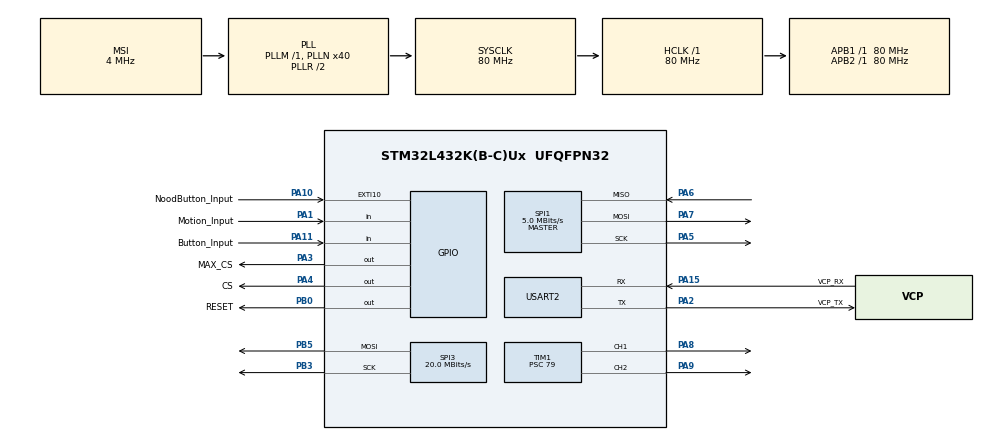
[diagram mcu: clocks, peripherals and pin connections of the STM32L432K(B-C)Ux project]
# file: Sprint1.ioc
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Mcu.Family=STM32L4
Mcu.Name=STM32L432K(B-C)Ux
Mcu.Package=UFQFPN32
NVIC.EXTI15_10_IRQn=true\:0\:0\:false\:false\:true\:true\:true\:true
NVIC.PriorityGroup=NVIC_PRIORITYGROUP_4
PA0.GPIO_Label=MCO [High speed clock in]
PA0.Mode=HSE-External-Clock-Source-for-LittleOrca
PA0.Signal=RCC_CK_IN
PA1.GPIO_Label=Motion_Input
PA1.Signal=GPIO_Input
PA10.GPIO_Label=NoodButton_Input
PA10.GPIO_PuPd=GPIO_PULLUP
PA10.Signal=GPXTI10
PA11.GPIO_Label=Button_Input
PA11.GPIO_PuPd=GPIO_PULLUP
PA11.Signal=GPIO_Input
PA13\ (JTMS-SWDIO).GPIO_Label=SWDIO
PA13\ (JTMS-SWDIO).Mode=Serial_Wire
PA13\ (JTMS-SWDIO).Signal=SYS_JTMS-SWDIO
PA14\ (JTCK-SWCLK).GPIO_Label=SWCLK
PA14\ (JTCK-SWCLK).Mode=Serial_Wire
PA14\ (JTCK-SWCLK).Signal=SYS_JTCK-SWCLK
PA15\ (JTDI).GPIO_Label=VCP_RX
PA15\ (JTDI).Mode=Asynchronous
PA15\ (JTDI).Signal=USART2_RX
PA2.GPIO_Label=VCP_TX
PA2.Mode=Asynchronous
PA2.Signal=USART2_TX
PA3.GPIO_Label=MAX_CS
PA3.Signal=GPIO_Output
PA4.GPIO_Label=CS
PA4.Signal=GPIO_Output
PA5.Mode=Full_Duplex_Master
PA5.Signal=SPI1_SCK
PA6.Mode=Full_Duplex_Master
PA6.Signal=SPI1_MISO
PA7.Mode=Full_Duplex_Master
PA7.Signal=SPI1_MOSI
PA8.Signal=S_TIM1_CH1
PA9.Signal=S_TIM1_CH2
PB0.GPIO_Label=RESET
PB0.Signal=GPIO_Output
PB3\ (JTDO-TRACESWO).Mode=TX_Only_Simplex_Unidirect_Master
PB3\ (JTDO-TRACESWO).Signal=SPI3_SCK
PB5.Mode=TX_Only_Simplex_Unidirect_Master
PB5.Signal=SPI3_MOSI
PC14-OSC32_IN\ (PC14).Mode=LSE-External-Oscillator
PC14-OSC32_IN\ (PC14).Signal=RCC_OSC32_IN
PC15-OSC32_OUT\ (PC15).Mode=LSE-External-Oscillator
PC15-OSC32_OUT\ (PC15).Signal=RCC_OSC32_OUT
ProjectManager.HeapSize=0x200
ProjectManager.StackSize=0x400
ProjectManager.TargetToolchain=STM32CubeIDE
RCC.AHBFreq_Value=80000000
RCC.APB1Freq_Value=80000000
RCC.APB1TimFreq_Value=80000000
RCC.APB2Freq_Value=80000000
RCC.APB2TimFreq_Value=80000000
RCC.CortexFreq_Value=80000000
RCC.HCLKFreq_Value=80000000
RCC.HSE_VALUE=8000000
RCC.HSI16_VALUE=16000000
RCC.HSI48_VALUE=48000000
RCC.HSI_VALUE=16000000
RCC.MSI_VALUE=4000000
RCC.PLLMUL=RCC_PLLMUL_4
RCC.PLLN=40
RCC.SYSCLKFreq_VALUE=80000000
RCC.SYSCLKSource=RCC_SYSCLKSOURCE_PLLCLK
RCC.VCOOutputFreq_Value=160000000
SH.S_TIM1_CH1.0=TIM1_CH1,PWM Generation1 CH1
SH.S_TIM1_CH2.0=TIM1_CH2,PWM Generation2 CH2
SPI1.BaudRatePrescaler=SPI_BAUDRATEPRESCALER_16
SPI1.CalculateBaudRate=5.0 MBits/s
SPI1.DataSize=SPI_DATASIZE_8BIT
SPI1.Direction=SPI_DIRECTION_2LINES
SPI1.Mode=SPI_MODE_MASTER
SPI1.VirtualType=VM_MASTER
SPI3.BaudRatePrescaler=SPI_BAUDRATEPRESCALER_4
SPI3.CalculateBaudRate=20.0 MBits/s
SPI3.DataSize=SPI_DATASIZE_8BIT
SPI3.Direction=SPI_DIRECTION_2LINES
SPI3.Mode=SPI_MODE_MASTER
SPI3.VirtualType=VM_MASTER
TIM1.Channel-PWM\ Generation1\ CH1=TIM_CHANNEL_1
TIM1.Channel-PWM\ Generation2\ CH2=TIM_CHANNEL_2
TIM1.Period=19999
TIM1.Prescaler=79
TIM1.Pulse-PWM\ Generation1\ CH1=1500
TIM1.Pulse-PWM\ Generation2\ CH2=1500
USART2.VirtualMode-Asynchronous=VM_ASYNC
board=NUCLEO-L432KC

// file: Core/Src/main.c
/* USER CODE BEGIN Header */
/**
 ******************************************************************************
 * @file           : main.c
 * @brief          : Main program body
 ******************************************************************************
 * @attention
 *
 * Copyright (c) 2026 STMicroelectronics.
 * All rights reserved.
 *
 * This software is licensed under terms that can be found in the LICENSE file
 * in the root directory of this software component.
 * If no LICENSE file comes with this software, it is provided AS-IS.
 *
 ******************************************************************************
 */
/* USER CODE END Header */
#include "main.h"

/* USER CODE BEGIN Includes */
#include "MFRC522_STM32.h"
/* USER CODE END Includes */

SPI_HandleTypeDef hspi1;
SPI_HandleTypeDef hspi3;

TIM_HandleTypeDef htim1;

UART_HandleTypeDef huart2;

/* USER CODE BEGIN PV */
uint8_t uid[4];
extern uint8_t atqa[];
qvolatile uint8_t noodstand_actief = 0;  // Global variable for emergency status

typedef enum {
	STATE_NORMAL, STATE_EMERGENCY
} system_state_t;

volatile system_state_t state = STATE_NORMAL;
/* USER CODE END PV */

void SystemClock_Config(void);
static void MX_GPIO_Init(void);
static void MX_TIM1_Init(void);
static void MX_USART2_UART_Init(void);
static void MX_SPI3_Init(void);
static void MX_SPI1_Init(void);
/* USER CODE BEGIN PFP */
MFRC522_t rfID = { &hspi1, CS_GPIO_Port, CS_Pin, RESET_GPIO_Port, RESET_Pin };
/* USER CODE END PFP */

/* USER CODE BEGIN 0 */
int _write(int fd, unsigned char *buf, int len);

void max7219_send(uint8_t reg, uint8_t data) {
	HAL_GPIO_WritePin(MAX_CS_GPIO_Port, MAX_CS_Pin, GPIO_PIN_RESET);

	uint8_t bytes[2] = { reg, data };
	HAL_SPI_Transmit(&hspi3, bytes, 2, HAL_MAX_DELAY);

	HAL_GPIO_WritePin(MAX_CS_GPIO_Port, MAX_CS_Pin, GPIO_PIN_SET);
}

void max7219_init(void) {
	max7219_send(0x0F, 0x00); // Display test uit
	max7219_send(0x0C, 0x01); // Shutdown uit (display aan)
	max7219_send(0x0B, 0x07); // Scan limit: 8 rijen
	max7219_send(0x09, 0x00); // Geen decode mode
	max7219_send(0x0A, 0x08); // Brightness
}
uint8_t leeg_2d[8][8] = { { 0, 0, 0, 0, 0, 0, 0, 0 },
		{ 0, 0, 0, 0, 0, 0, 0, 0 }, { 0, 0, 0, 0, 0, 0, 0, 0 }, { 0, 0, 0, 0, 0,
				0, 0, 0 }, { 0, 0, 0, 0, 0, 0, 0, 0 },
		{ 0, 0, 0, 0, 0, 0, 0, 0 }, { 0, 0, 0, 0, 0, 0, 0, 0 }, { 0, 0, 0, 0, 0,
				0, 0, 0 } };

uint8_t uitroepteken_2d[8][8] = { { 0, 0, 0, 1, 1, 0, 0, 0 }, { 0, 0, 0, 1, 1,
		0, 0, 0 }, { 0, 0, 0, 1, 1, 0, 0, 0 }, { 0, 0, 0, 1, 1, 0, 0, 0 }, { 0,
		0, 0, 1, 1, 0, 0, 0 }, { 0, 0, 0, 0, 0, 0, 0, 0 }, { 0, 0, 0, 1, 1, 0,
		0, 0 }, { 0, 0, 0, 1, 1, 0, 0, 0 } };

uint8_t duimpje_2d[8][8] = { { 0, 0, 0, 0, 1, 0, 0, 0 }, { 0, 0, 0, 1, 1, 0, 0,
		0 }, { 0, 0, 0, 1, 1, 0, 0, 0 }, { 1, 1, 1, 1, 1, 1, 1, 0 }, { 1, 1, 1,
		1, 1, 1, 1, 0 }, { 1, 1, 1, 1, 1, 1, 1, 0 }, { 1, 1, 1, 1, 1, 1, 0, 0 },
		{ 0, 0, 0, 1, 1, 0, 0, 0 } };
uint8_t vinkje_2d[8][8] = { { 0, 0, 0, 0, 0, 0, 0, 0 },
		{ 0, 0, 0, 0, 0, 0, 0, 1 }, { 0, 0, 0, 0, 0, 0, 1, 0 }, { 0, 0, 0, 0, 0,
				1, 0, 0 }, { 1, 0, 0, 0, 1, 0, 0, 0 },
		{ 0, 1, 0, 1, 0, 0, 0, 0 }, { 0, 0, 1, 0, 0, 0, 0, 0 }, { 0, 0, 0, 0, 0,
				0, 0, 0 } };

uint8_t kruisje_2d[8][8] = { { 0, 0, 0, 0, 0, 0, 0, 0 }, { 1, 0, 0, 0, 0, 0, 0,
		1 }, { 0, 1, 0, 0, 0, 0, 1, 0 }, { 0, 0, 1, 0, 0, 1, 0, 0 }, { 0, 0, 0,
		1, 1, 0, 0, 0 }, { 0, 0, 1, 0, 0, 1, 0, 0 }, { 0, 1, 0, 0, 0, 0, 1, 0 },
		{ 1, 0, 0, 0, 0, 0, 0, 1 } };

uint8_t row_to_byte(uint8_t row[8]) {
	uint8_t value = 0;
	for (int i = 0; i < 8; i++) {
		value <<= 1;
		value |= (row[i] & 0x01);
	}
	return value;
}

void max7219_show_2d(uint8_t arr[8][8]) {
	for (uint8_t row = 0; row < 8; row++) {
		uint8_t byte = row_to_byte(arr[row]);
		max7219_send(row + 1, byte);
	}
}

void KaiDeurAutomatiseringBuitenBinnen() {
	char RFIDmsg[] = "Deur 1 gaat open\r\n";
	HAL_UART_Transmit(&huart2, (uint8_t*) RFIDmsg, sizeof(RFIDmsg) - 1, HAL_MAX_DELAY);

	for (int pos = 73; pos <= 110; pos++) {
		TIM1->CCR1 = pos;
		HAL_Delay(20);
	}

	HAL_Delay(3000);
	char RFIDmsg1[] = "Deur 1 gaat dicht\r\n";
	HAL_UART_Transmit(&huart2, (uint8_t*) RFIDmsg1, sizeof(RFIDmsg1) - 1, HAL_MAX_DELAY);

	for (int pos = 110; pos >= 73; pos--) {
		TIM1->CCR1 = pos;
		HAL_Delay(20);
	}

	char RFIDmsg2[] = "Deur 2 gaat open\r\n";
	HAL_UART_Transmit(&huart2, (uint8_t*) RFIDmsg2, sizeof(RFIDmsg2) - 1, HAL_MAX_DELAY);

	for (int pos = 73; pos <= 110; pos++) {
		TIM1->CCR2 = pos;
		HAL_Delay(20);
	}

	HAL_Delay(3000);
	char RFIDmsg3[] = "Deur 2 gaat dicht\r\n";
	HAL_UART_Transmit(&huart2, (uint8_t*) RFIDmsg3, sizeof(RFIDmsg3) - 1, HAL_MAX_DELAY);

	for (int pos = 110; pos >= 73; pos--) {
		TIM1->CCR2 = pos;
		HAL_Delay(20);
	}

}

void KaiDeurAutomatiseringBinnenBuiten() {
	char RFIDmsg2[] = "Deur 2 gaat open\r\n";
	HAL_UART_Transmit(&huart2, (uint8_t*) RFIDmsg2, sizeof(RFIDmsg2) - 1, HAL_MAX_DELAY);

	for (int pos = 73; pos <= 110; pos++) {
		TIM1->CCR2 = pos;
		HAL_Delay(20);
	}

	HAL_Delay(3000);
	char RFIDmsg3[] = "Deur 2 gaat dicht\r\n";
	HAL_UART_Transmit(&huart2, (uint8_t*) RFIDmsg3, sizeof(RFIDmsg3) - 1, HAL_MAX_DELAY);

	for (int pos = 110; pos >= 73; pos--) {
		TIM1->CCR2 = pos;
		HAL_Delay(20);
	}

	char RFIDmsg[] = "Deur 1 gaat open\r\n";
	HAL_UART_Transmit(&huart2, (uint8_t*) RFIDmsg, sizeof(RFIDmsg) - 1, HAL_MAX_DELAY);

	for (int pos = 73; pos <= 110; pos++) {
		TIM1->CCR1 = pos;
		HAL_Delay(20);
	}

	HAL_Delay(3000);
	char RFIDmsg1[] = "Deur 1 gaat dicht\r\n";
	HAL_UART_Transmit(&huart2, (uint8_t*) RFIDmsg1, sizeof(RFIDmsg1) - 1, HAL_MAX_DELAY);

	for (int pos = 110; pos >= 73; pos--) {
		TIM1->CCR1 = pos;
		HAL_Delay(20);
	}
}
/* USER CODE END 0 */

int main(void) {

	/* MCU Configuration--------------------------------------------------------*/

	/* Reset of all peripherals, Initializes the Flash interface and the Systick. */
	HAL_Init();

	/* Configure the system clock */
	SystemClock_Config();

	/* Initialize all configured peripherals */
	MX_GPIO_Init();
	MX_TIM1_Init();
	MX_USART2_UART_Init();
	MX_SPI3_Init();
	MX_SPI1_Init();
	/* USER CODE BEGIN 2 */
	max7219_init();
	HAL_TIM_PWM_Start(&htim1, TIM_CHANNEL_1);
	HAL_TIM_PWM_Start(&htim1, TIM_CHANNEL_2);

	MFRC522_Init(&rfID);

	/* USER CODE END 2 */

	/* Infinite loop */
	while (1) {

		/* USER CODE BEGIN 3 */
		switch (state) {
		case STATE_NORMAL:
			max7219_show_2d(leeg_2d);
			if (MFRC522_RequestA(&rfID, atqa) == STATUS_OK) {
				if (MFRC522_ReadUid(&rfID, uid) == STATUS_OK) {
//					USER_LOG("CARD ID:%02X %02X %02X %02X", uid[0], uid[1], uid[2], uid[3]);
					if ((uid[0] == 0x03) && (uid[1] == 0xF5) && (uid[2] == 0x4C)
							&& (uid[3] == 0xA6)) {
						max7219_show_2d(vinkje_2d);
						KaiDeurAutomatiseringBuitenBinnen();
						max7219_show_2d(leeg_2d);
					} else {
						max7219_show_2d(kruisje_2d);
						char RFIDmsg_fout[] = "Toegang geweigerd\r\n";
						HAL_UART_Transmit(&huart2, (uint8_t*) RFIDmsg_fout,
								sizeof(RFIDmsg_fout) - 1, HAL_MAX_DELAY);
						HAL_Delay(2000);
						max7219_show_2d(leeg_2d);
					}
				}
			}

			if (HAL_GPIO_ReadPin(Motion_Input_GPIO_Port, Motion_Input_Pin) == GPIO_PIN_SET) {
				KaiDeurAutomatiseringBinnenBuiten();
			}

			if (HAL_GPIO_ReadPin(Button_Input_GPIO_Port, Button_Input_Pin) == GPIO_PIN_RESET) {
				KaiDeurAutomatiseringBuitenBinnen();
			}
		case STATE_EMERGENCY:
			max7219_show_2d(uitroepteken_2d);
		}
	}
	/* USER CODE END 3 */
}

void SystemClock_Config(void) {
	RCC_OscInitTypeDef RCC_OscInitStruct = { 0 };
	RCC_ClkInitTypeDef RCC_ClkInitStruct = { 0 };

	/** Configure the main internal regulator output voltage
	 */
	if (HAL_PWREx_ControlVoltageScaling(PWR_REGULATOR_VOLTAGE_SCALE1)
			!= HAL_OK) {
		Error_Handler();
	}

	/** Configure LSE Drive Capability
	 */
	HAL_PWR_EnableBkUpAccess();
	__HAL_RCC_LSEDRIVE_CONFIG(RCC_LSEDRIVE_LOW);

	/** Initializes the RCC Oscillators according to the specified parameters
	 * in the RCC_OscInitTypeDef structure.
	 */
	RCC_OscInitStruct.OscillatorType = RCC_OSCILLATORTYPE_LSE
			| RCC_OSCILLATORTYPE_MSI;
	RCC_OscInitStruct.LSEState = RCC_LSE_ON;
	RCC_OscInitStruct.MSIState = RCC_MSI_ON;
	RCC_OscInitStruct.MSICalibrationValue = 0;
	RCC_OscInitStruct.MSIClockRange = RCC_MSIRANGE_6;
	RCC_OscInitStruct.PLL.PLLState = RCC_PLL_ON;
	RCC_OscInitStruct.PLL.PLLSource = RCC_PLLSOURCE_MSI;
	RCC_OscInitStruct.PLL.PLLM = 1;
	RCC_OscInitStruct.PLL.PLLN = 40;
	RCC_OscInitStruct.PLL.PLLP = RCC_PLLP_DIV7;
	RCC_OscInitStruct.PLL.PLLQ = RCC_PLLQ_DIV2;
	RCC_OscInitStruct.PLL.PLLR = RCC_PLLR_DIV2;
	if (HAL_RCC_OscConfig(&RCC_OscInitStruct) != HAL_OK) {
		Error_Handler();
	}

	/** Initializes the CPU, AHB and APB buses clocks
	 */
	RCC_ClkInitStruct.ClockType = RCC_CLOCKTYPE_HCLK | RCC_CLOCKTYPE_SYSCLK
			| RCC_CLOCKTYPE_PCLK1 | RCC_CLOCKTYPE_PCLK2;
	RCC_ClkInitStruct.SYSCLKSource = RCC_SYSCLKSOURCE_PLLCLK;
	RCC_ClkInitStruct.AHBCLKDivider = RCC_SYSCLK_DIV1;
	RCC_ClkInitStruct.APB1CLKDivider = RCC_HCLK_DIV1;
	RCC_ClkInitStruct.APB2CLKDivider = RCC_HCLK_DIV1;

	if (HAL_RCC_ClockConfig(&RCC_ClkInitStruct, FLASH_LATENCY_4) != HAL_OK) {
		Error_Handler();
	}

	/** Enable MSI Auto calibration
	 */
	HAL_RCCEx_EnableMSIPLLMode();
}

static void MX_SPI1_Init(void) {

	/* SPI1 parameter configuration*/
	hspi1.Instance = SPI1;
	hspi1.Init.Mode = SPI_MODE_MASTER;
	hspi1.Init.Direction = SPI_DIRECTION_2LINES;
	hspi1.Init.DataSize = SPI_DATASIZE_8BIT;
	hspi1.Init.CLKPolarity = SPI_POLARITY_LOW;
	hspi1.Init.CLKPhase = SPI_PHASE_1EDGE;
	hspi1.Init.NSS = SPI_NSS_SOFT;
	hspi1.Init.BaudRatePrescaler = SPI_BAUDRATEPRESCALER_16;
	hspi1.Init.FirstBit = SPI_FIRSTBIT_MSB;
	hspi1.Init.TIMode = SPI_TIMODE_DISABLE;
	hspi1.Init.CRCCalculation = SPI_CRCCALCULATION_DISABLE;
	hspi1.Init.CRCPolynomial = 7;
	hspi1.Init.CRCLength = SPI_CRC_LENGTH_DATASIZE;
	hspi1.Init.NSSPMode = SPI_NSS_PULSE_ENABLE;
	if (HAL_SPI_Init(&hspi1) != HAL_OK) {
		Error_Handler();
	}

}

static void MX_SPI3_Init(void) {

	/* SPI3 parameter configuration*/
	hspi3.Instance = SPI3;
	hspi3.Init.Mode = SPI_MODE_MASTER;
	hspi3.Init.Direction = SPI_DIRECTION_2LINES;
	hspi3.Init.DataSize = SPI_DATASIZE_8BIT;
	hspi3.Init.CLKPolarity = SPI_POLARITY_LOW;
	hspi3.Init.CLKPhase = SPI_PHASE_1EDGE;
	hspi3.Init.NSS = SPI_NSS_SOFT;
	hspi3.Init.BaudRatePrescaler = SPI_BAUDRATEPRESCALER_4;
	hspi3.Init.FirstBit = SPI_FIRSTBIT_MSB;
	hspi3.Init.TIMode = SPI_TIMODE_DISABLE;
	hspi3.Init.CRCCalculation = SPI_CRCCALCULATION_DISABLE;
	hspi3.Init.CRCPolynomial = 7;
	hspi3.Init.CRCLength = SPI_CRC_LENGTH_DATASIZE;
	hspi3.Init.NSSPMode = SPI_NSS_PULSE_ENABLE;
	if (HAL_SPI_Init(&hspi3) != HAL_OK) {
		Error_Handler();
	}

}

static void MX_TIM1_Init(void) {

	TIM_MasterConfigTypeDef sMasterConfig = { 0 };
	TIM_OC_InitTypeDef sConfigOC = { 0 };
	TIM_BreakDeadTimeConfigTypeDef sBreakDeadTimeConfig = { 0 };

	htim1.Instance = TIM1;
	htim1.Init.Prescaler = 79;
	htim1.Init.CounterMode = TIM_COUNTERMODE_UP;
	htim1.Init.Period = 19999;
	htim1.Init.ClockDivision = TIM_CLOCKDIVISION_DIV1;
	htim1.Init.RepetitionCounter = 0;
	htim1.Init.AutoReloadPreload = TIM_AUTORELOAD_PRELOAD_DISABLE;
	if (HAL_TIM_PWM_Init(&htim1) != HAL_OK) {
		Error_Handler();
	}
	sMasterConfig.MasterOutputTrigger = TIM_TRGO_RESET;
	sMasterConfig.MasterOutputTrigger2 = TIM_TRGO2_RESET;
	sMasterConfig.MasterSlaveMode = TIM_MASTERSLAVEMODE_DISABLE;
	if (HAL_TIMEx_MasterConfigSynchronization(&htim1, &sMasterConfig)
			!= HAL_OK) {
		Error_Handler();
	}
	sConfigOC.OCMode = TIM_OCMODE_PWM1;
	sConfigOC.Pulse = 1500;
	sConfigOC.OCPolarity = TIM_OCPOLARITY_HIGH;
	sConfigOC.OCNPolarity = TIM_OCNPOLARITY_HIGH;
	sConfigOC.OCFastMode = TIM_OCFAST_DISABLE;
	sConfigOC.OCIdleState = TIM_OCIDLESTATE_RESET;
	sConfigOC.OCNIdleState = TIM_OCNIDLESTATE_RESET;
	if (HAL_TIM_PWM_ConfigChannel(&htim1, &sConfigOC, TIM_CHANNEL_1)
			!= HAL_OK) {
		Error_Handler();
	}
	if (HAL_TIM_PWM_ConfigChannel(&htim1, &sConfigOC, TIM_CHANNEL_2)
			!= HAL_OK) {
		Error_Handler();
	}
	sBreakDeadTimeConfig.OffStateRunMode = TIM_OSSR_DISABLE;
	sBreakDeadTimeConfig.OffStateIDLEMode = TIM_OSSI_DISABLE;
	sBreakDeadTimeConfig.LockLevel = TIM_LOCKLEVEL_OFF;
	sBreakDeadTimeConfig.DeadTime = 0;
	sBreakDeadTimeConfig.BreakState = TIM_BREAK_DISABLE;
	sBreakDeadTimeConfig.BreakPolarity = TIM_BREAKPOLARITY_HIGH;
	sBreakDeadTimeConfig.BreakFilter = 0;
	sBreakDeadTimeConfig.Break2State = TIM_BREAK2_DISABLE;
	sBreakDeadTimeConfig.Break2Polarity = TIM_BREAK2POLARITY_HIGH;
	sBreakDeadTimeConfig.Break2Filter = 0;
	sBreakDeadTimeConfig.AutomaticOutput = TIM_AUTOMATICOUTPUT_DISABLE;
	if (HAL_TIMEx_ConfigBreakDeadTime(&htim1, &sBreakDeadTimeConfig)
			!= HAL_OK) {
		Error_Handler();
	}
	HAL_TIM_MspPostInit(&htim1);

}

static void MX_USART2_UART_Init(void) {

	huart2.Instance = USART2;
	huart2.Init.BaudRate = 115200;
	huart2.Init.WordLength = UART_WORDLENGTH_8B;
	huart2.Init.StopBits = UART_STOPBITS_1;
	huart2.Init.Parity = UART_PARITY_NONE;
	huart2.Init.Mode = UART_MODE_TX_RX;
	huart2.Init.HwFlowCtl = UART_HWCONTROL_NONE;
	huart2.Init.OverSampling = UART_OVERSAMPLING_16;
	huart2.Init.OneBitSampling = UART_ONE_BIT_SAMPLE_DISABLE;
	huart2.AdvancedInit.AdvFeatureInit = UART_ADVFEATURE_NO_INIT;
	if (HAL_UART_Init(&huart2) != HAL_OK) {
		Error_Handler();
	}

}

static void MX_GPIO_Init(void) {
	GPIO_InitTypeDef GPIO_InitStruct = { 0 };

	/* GPIO Ports Clock Enable */
	__HAL_RCC_GPIOC_CLK_ENABLE();
	__HAL_RCC_GPIOA_CLK_ENABLE();
	__HAL_RCC_GPIOB_CLK_ENABLE();

	/*Configure GPIO pin Output Level */
	HAL_GPIO_WritePin(GPIOA, MAX_CS_Pin | CS_Pin, GPIO_PIN_RESET);

	/*Configure GPIO pin Output Level */
	HAL_GPIO_WritePin(RESET_GPIO_Port, RESET_Pin, GPIO_PIN_RESET);

	/*Configure GPIO pin : Motion_Input_Pin */
	GPIO_InitStruct.Pin = Motion_Input_Pin;
	GPIO_InitStruct.Mode = GPIO_MODE_INPUT;
	GPIO_InitStruct.Pull = GPIO_NOPULL;
	HAL_GPIO_Init(Motion_Input_GPIO_Port, &GPIO_InitStruct);

	/*Configure GPIO pins : MAX_CS_Pin CS_Pin */
	GPIO_InitStruct.Pin = MAX_CS_Pin | CS_Pin;
	GPIO_InitStruct.Mode = GPIO_MODE_OUTPUT_PP;
	GPIO_InitStruct.Pull = GPIO_NOPULL;
	GPIO_InitStruct.Speed = GPIO_SPEED_FREQ_LOW;
	HAL_GPIO_Init(GPIOA, &GPIO_InitStruct);

	/*Configure GPIO pin : RESET_Pin */
	GPIO_InitStruct.Pin = RESET_Pin;
	GPIO_InitStruct.Mode = GPIO_MODE_OUTPUT_PP;
	GPIO_InitStruct.Pull = GPIO_NOPULL;
	GPIO_InitStruct.Speed = GPIO_SPEED_FREQ_LOW;
	HAL_GPIO_Init(RESET_GPIO_Port, &GPIO_InitStruct);

	/*Configure GPIO pin : NoodButton_Input_Pin */
	GPIO_InitStruct.Pin = NoodButton_Input_Pin;
	GPIO_InitStruct.Mode = GPIO_MODE_IT_RISING;
	GPIO_InitStruct.Pull = GPIO_PULLUP;
	HAL_GPIO_Init(NoodButton_Input_GPIO_Port, &GPIO_InitStruct);

	/*Configure GPIO pin : Button_Input_Pin */
	GPIO_InitStruct.Pin = Button_Input_Pin;
	GPIO_InitStruct.Mode = GPIO_MODE_INPUT;
	GPIO_InitStruct.Pull = GPIO_PULLUP;
	HAL_GPIO_Init(Button_Input_GPIO_Port, &GPIO_InitStruct);

	/* EXTI interrupt init*/
	HAL_NVIC_SetPriority(EXTI15_10_IRQn, 0, 0);
	HAL_NVIC_EnableIRQ(EXTI15_10_IRQn);

}

/* USER CODE BEGIN 4 */
int _write(int fd, unsigned char *buf, int len) {
	if (fd == 1 || fd == 2) {                     // stdout or stderr ?
		HAL_UART_Transmit(&huart2, buf, len, 999);  // Print to the UART
	}
	return len;
}

void HAL_GPIO_EXTI_Callback(uint16_t GPIO_Pin) {
	if (GPIO_Pin == NoodButton_Input_Pin) {
		if (HAL_GPIO_ReadPin(NoodButton_Input_GPIO_Port, NoodButton_Input_Pin)
				== GPIO_PIN_RESET) {
// noodknop logica
			if (state == STATE_NORMAL) {
				state = STATE_EMERGENCY;
				max7219_show_2d(uitroepteken_2d);
				char nood[] = "Noodknop ingedrukt, alle deuren gaan Dicht\r\n";
				HAL_UART_Transmit(&huart2, (uint8_t*) nood, sizeof(nood) - 1,
				HAL_MAX_DELAY);
			}
			if (state == STATE_EMERGENCY) {
				state = STATE_NORMAL;
				max7219_show_2d(leeg_2d);
			}
		}
	}
}
/* USER CODE END 4 */

void Error_Handler(void) {
	__disable_irq();
	while (1) {
	}
}
